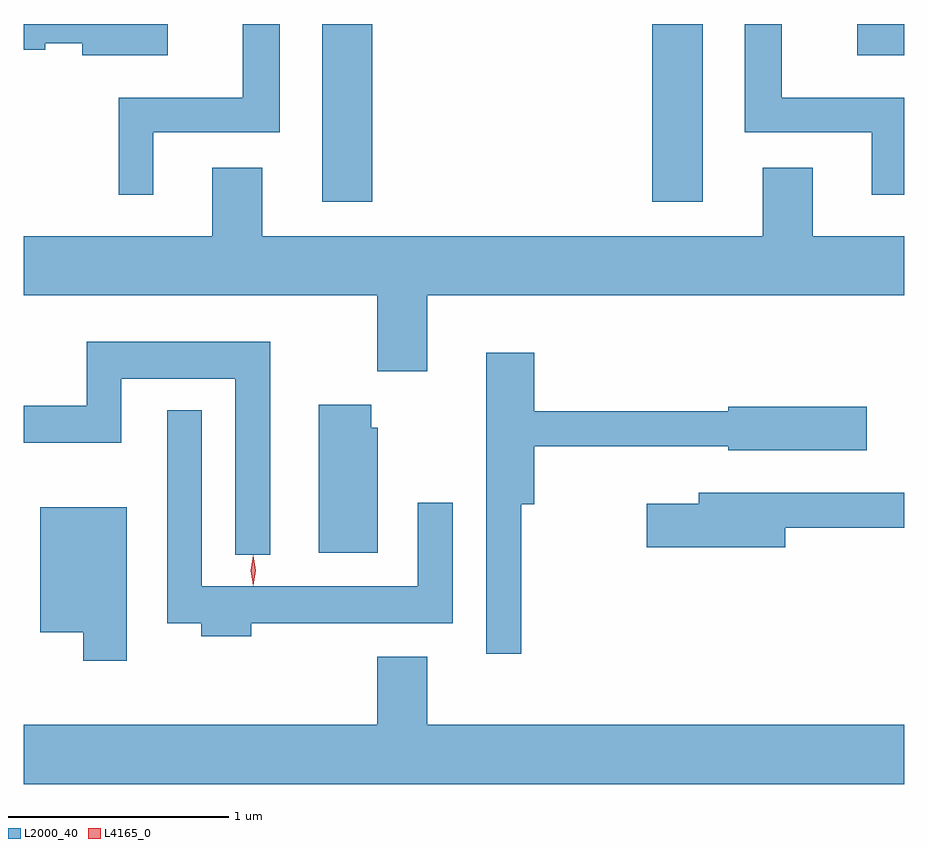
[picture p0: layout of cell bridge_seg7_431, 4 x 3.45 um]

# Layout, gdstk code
import gdstk
lib = gdstk.Library(unit=1e-6, precision=1e-09)
def R(c, l, rs):  # rectangles x0, y0, x1, y1
    for r in rs: c.add(gdstk.rectangle(r[:2], r[2:], *l))
def P(c, l, *ps):  # polygons
    for p in ps: c.add(gdstk.Polygon(p, *l))
L2000_40 = (2000, 40)
L4165_0 = (4165, 0)

bridge_seg7_431 = lib.new_cell('bridge_seg7_431')
R(bridge_seg7_431, L2000_40, [(1199.101,1723.621,1199.329,1724.428), (1200.601,1723.621,1200.829,1724.428), (1201.531,1724.286,1201.745,1724.428)])
P(bridge_seg7_431, L2000_40, [(1198.334,1723.936),(1198.909,1723.936),(1198.909,1724.428),(1198.741,1724.428),(1198.741,1724.094),(1198.176,1724.094),(1198.176,1723.653),(1198.334,1723.653)],
  [(1201.745,1724.094),(1201.189,1724.094),(1201.189,1724.428),(1201.021,1724.428),(1201.021,1723.936),(1201.596,1723.936),(1201.596,1723.653),(1201.745,1723.653)],
  [(1198.399,1724.428),(1197.745,1724.428),(1197.745,1724.311),(1197.844,1724.311),(1197.844,1724.341),(1198.011,1724.341),(1198.011,1724.286),(1198.399,1724.286)],
  [(1199.579,1723.196),(1201.745,1723.196),(1201.745,1723.464),(1201.329,1723.464),(1201.329,1723.774),(1201.101,1723.774),(1201.101,1723.464),(1198.829,1723.464),(1198.829,1723.774),(1198.601,1723.774),(1198.601,1723.464),(1197.745,1723.464),(1197.745,1723.196),(1199.351,1723.196),(1199.351,1722.851),(1199.579,1722.851)],
  [(1198.864,1722.984),(1198.031,1722.984),(1198.031,1722.694),(1197.745,1722.694),(1197.745,1722.526),(1198.189,1722.526),(1198.189,1722.816),(1198.706,1722.816),(1198.706,1722.018),(1198.864,1722.018)],
  [(1200.004,1722.246),(1200.064,1722.246),(1200.064,1722.511),(1200.946,1722.511),(1200.946,1722.491),(1201.574,1722.491),(1201.574,1722.689),(1200.946,1722.689),(1200.946,1722.669),(1200.064,1722.669),(1200.064,1722.934),(1199.846,1722.934),(1199.846,1721.568),(1200.004,1721.568)],
  [(1199.354,1722.594),(1199.324,1722.594),(1199.324,1722.699),(1199.086,1722.699),(1199.086,1722.026),(1199.354,1722.026)],
  [(1198.779,1721.706),(1199.694,1721.706),(1199.694,1722.253),(1199.536,1722.253),(1199.536,1721.874),(1198.554,1721.874),(1198.554,1722.673),(1198.396,1722.673),(1198.396,1721.706),(1198.551,1721.706),(1198.551,1721.646),(1198.779,1721.646)],
  [(1201.204,1722.141),(1201.745,1722.141),(1201.745,1722.299),(1200.811,1722.299),(1200.811,1722.249),(1200.576,1722.249),(1200.576,1722.051),(1201.204,1722.051)],
  [(1198.214,1722.234),(1197.821,1722.234),(1197.821,1721.666),(1198.016,1721.666),(1198.016,1721.536),(1198.214,1721.536)],
  [(1201.745,1721.244),(1199.579,1721.244),(1199.579,1721.554),(1199.351,1721.554),(1199.351,1721.244),(1197.745,1721.244),(1197.745,1720.976),(1201.745,1720.976)])
P(bridge_seg7_431, L4165_0, [(1198.787,1721.877),(1198.777,1721.947),(1198.787,1722.016),(1198.788,1722.016),(1198.788,1722.016),(1198.798,1721.947),(1198.788,1721.877),(1198.788,1721.877)],
  [(1198.788,1721.879),(1198.787,1721.88),(1198.777,1721.946),(1198.787,1722.013),(1198.788,1722.013),(1198.788,1722.013),(1198.798,1721.946),(1198.788,1721.88)])

lib.write_gds('bridge_seg7_431.gds')
